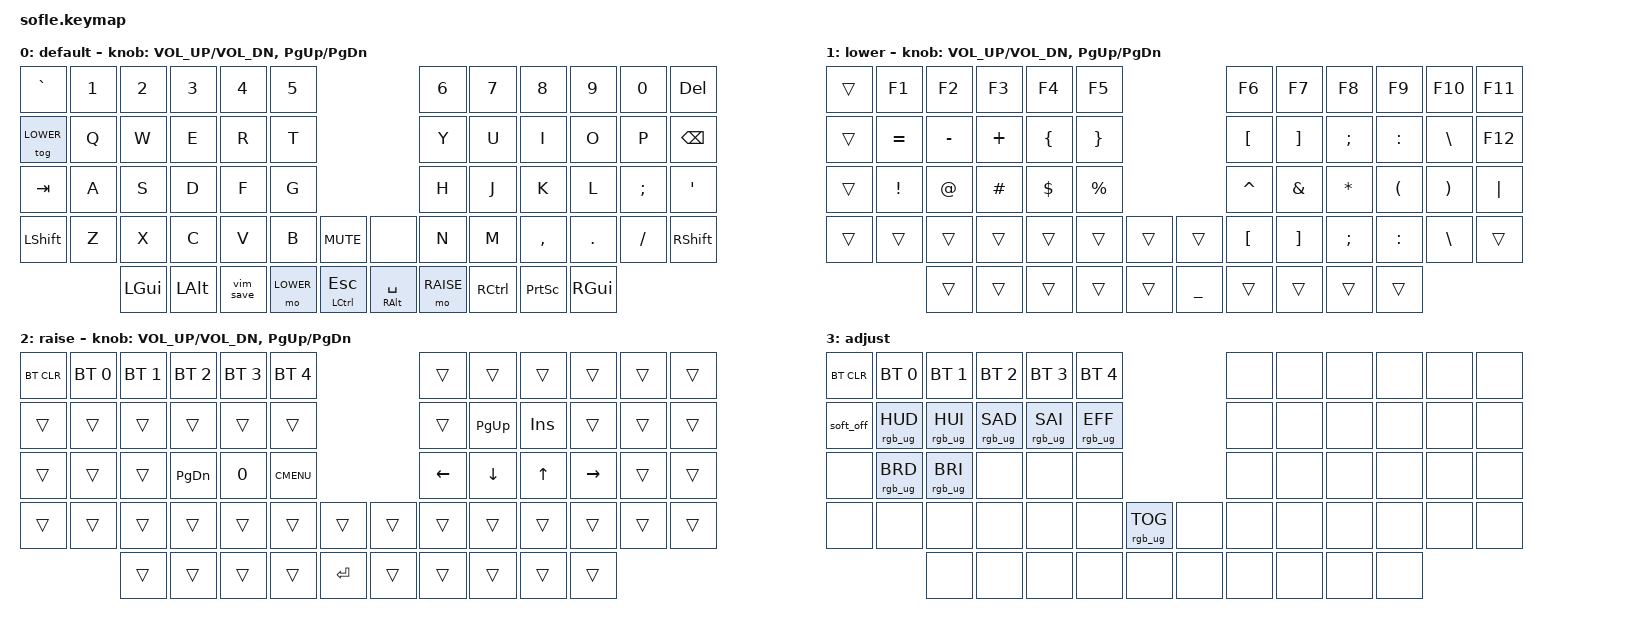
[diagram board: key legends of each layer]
/*
 * Copyright (c) 2020 The ZMK Contributors
 *
 * SPDX-License-Identifier: MIT
 */

#include <behaviors.dtsi>
#include <dt-bindings/zmk/keys.h>
#include <dt-bindings/zmk/bt.h>
#include <dt-bindings/zmk/rgb.h>
#include <dt-bindings/zmk/ext_power.h>

#define BASE 0
#define LOWER 1
#define RAISE 2
#define ADJUST 3

/ {

   // Activate ADJUST layer by pressing raise and lower
    conditional_layers {
        compatible = "zmk,conditional-layers";
        adjust_layer {
            if-layers = <LOWER RAISE>;
            then-layer = <ADJUST>;
        };
    };

   macros {
        vim_save: vim_save {
            compatible = "zmk,behavior-macro";
            #binding-cells = <0>;
            bindings = <&kp ESC &kp COLON &kp W &kp RETURN>;
        };
    };

    behaviors {
        mt: mod_tap {
            compatible = "zmk,behavior-hold-tap";
            #binding-cells = <2>;
            tapping-term-ms = <200>;
            quick-tap-ms = <175>;
            require-prior-idle-ms = <150>;
            flavor = "tap-preferred";
            bindings = <&kp>, <&kp>;
        };
    };

    keymap {
        compatible = "zmk,keymap";

        default_layer {
            display-name = "default";
// ------------------------------------------------------------------------------------------------------------
// |   `     |  1  |  2  |  3   |  4   |  5   |                          |  6   |  7    |  8    |  9   |   0   |  DEL  |
// |  LOWER  |  Q  |  W  |  E   |  R   |  T   |                          |  Y   |  U    |  I    |  O   |   P   | BKSPC |
// |  TAB    |  A  |  S  |  D   |  F   |  G   |                          |  H   |  J    |  K    |  L   |   ;   |   '   |
// |  SHIFT  |  Z  |  X  |  C   |  V   |  B   |  MUTE     |  |           |  N   |  M    |  ,    |  .   |   /   | SHIFT |
//                 | GUI | ALT  | SAVE | LOWER|  CTRL/ESC |  | ALT/SPACE | RAISE| CTRL  | PSCRN | GUI  |
            bindings = <
&kp GRAVE   &kp N1 &kp N2   &kp N3   &kp N4    &kp N5                                      &kp N6     &kp N7    &kp N8    &kp N9   &kp N0   &kp DEL
&tog LOWER  &kp Q  &kp W    &kp E    &kp R     &kp T                                       &kp Y      &kp U     &kp I     &kp O    &kp P    &kp BSPC
&kp TAB     &kp A  &kp S    &kp D    &kp F     &kp G                                       &kp H      &kp J     &kp K     &kp L    &kp SEMI &kp SQT
&kp LSHFT   &kp Z  &kp X    &kp C    &kp V     &kp B      &kp C_MUTE       &none           &kp N      &kp M     &kp COMMA &kp DOT  &kp FSLH &kp RSHFT
                 &kp LGUI &kp LALT &vim_save   &mo LOWER  &mt LCTRL ESC    &mt RALT SPACE  &mo RAISE  &kp RCTRL &kp PSCRN  &kp RGUI
            >;

            sensor-bindings = <&inc_dec_kp C_VOL_UP C_VOL_DN &inc_dec_kp PG_UP PG_DN>;
        };

        lower_layer {
            display-name = "lower";
// TODO: Some binds are waiting for shifted keycode support.
// ------------------------------------------------------------------------------------------------------------
// |       |  F1 |  F2 |  F3  |  F4  |  F5  |                   |  F6  |  F7   |  F8   |  F9  |  F10  |  F11  |
// |       |  =  |  -  |  +   |  {   |  }   |                   |  [   |  ]    |  ;    |  :   |   \   |  F12  |
// |       |  !  |  @  |  #   |  $   |  %   |                   |  ^   |  &    |  *    |  (   |   )   |   |   |
// |       |     |     |      |      |      |        |  |       |      |       |       |      |       |       |
//               |     |      |      |      |        |  |   _   |      |       |       |      |
            bindings = <
&trans    &kp F1    &kp F2    &kp F3      &kp F4    &kp F5                        &kp F6    &kp F7   &kp F8    &kp F9    &kp F10   &kp F11
&trans    &kp EQUAL &kp MINUS &kp PLUS    &kp LBRC  &kp RBRC                      &kp LBKT  &kp RBKT &kp SEMI  &kp COLON  &kp BSLH &kp F12
&trans    &kp EXCL  &kp AT    &kp HASH    &kp DLLR  &kp PRCNT                     &kp CARET &kp AMPS &kp ASTRK &kp LPAR  &kp RPAR  &kp PIPE
&trans    &trans    &trans    &trans      &trans    &trans    &trans    &trans    &kp LBKT  &kp RBKT &kp SEMI  &kp COLON &kp BSLH  &trans
                    &trans    &trans      &trans    &trans    &trans    &kp UNDER &trans    &trans   &trans    &trans
            >;

            sensor-bindings = <&inc_dec_kp C_VOL_UP C_VOL_DN &inc_dec_kp PG_UP PG_DN>;
        };

        raise_layer {
            display-name = "raise";
// ------------------------------------------------------------------------------------------------------------
// | BTCLR | BT1  | BT2  |  BT3  |  BT4  |  BT5 |                |      |       |       |      |       |       |
// |       |      |      |       |       |      |                |      | PG_UP |  INS  |      |       |       |
// |       |      |      | PG_DN |   0   | GUI  |                | <-   |   v   |   ^   |  ->  |       |       |
// |       |      |      |       |       |      |      |  |      |      |       |       |      |       |       |
//                |      |       |       |      | RET  |  |      |      |       |       |      |
            bindings = <
&bt BT_CLR &bt BT_SEL 0 &bt BT_SEL 1 &bt BT_SEL 2 &bt BT_SEL 3 &bt BT_SEL 4                  &trans     &trans    &trans   &trans    &trans      &trans
&trans     &trans       &trans       &trans       &trans       &trans                        &trans     &kp PG_UP &kp INS   &trans    &trans      &trans
&trans     &trans       &trans       &kp PG_DN    &kp N0       &kp K_CMENU                   &kp LEFT   &kp DOWN  &kp UP   &kp RIGHT &trans      &trans
&trans     &trans       &trans       &trans       &trans       &trans    &trans      &trans  &trans     &trans    &trans   &trans    &trans      &trans
                        &trans       &trans       &trans       &trans    &kp RET     &trans  &trans     &trans    &trans   &trans
            >;

            sensor-bindings = <&inc_dec_kp C_VOL_UP C_VOL_DN &inc_dec_kp PG_UP PG_DN>;
        };

        adjust_layer {
// ----------------------------------------------------------------------------------------------------------------------------
// | BTCLR  |  BT1    |  BT2    |   BT3   |   BT4   |   BT5   |                  |      |      |       |      |       |       |
// | EXTPWR | RGB_HUD | RGB_HUI | RGB_SAD | RGB_SAI | RGB_EFF |                  |      |      |       |      |       |       |
// |        | RGB_BRD | RGB_BRI |         |         |         |                  |      |      |       |      |       |       |
// |        |         |         |         |         |         | RGB_TOG | |      |      |      |       |      |       |       |
//                    |         |         |         |         |         | |      |      |      |       |      |
            display-name = "adjust";
            bindings = <
&bt BT_CLR        &bt BT_SEL 0    &bt BT_SEL 1    &bt BT_SEL 2    &bt BT_SEL 3    &bt BT_SEL 4                            &none &none &none &none &none &none
&soft_off         &rgb_ug RGB_HUD &rgb_ug RGB_HUI &rgb_ug RGB_SAD &rgb_ug RGB_SAI &rgb_ug RGB_EFF                         &none &none &none &none &none &none
&none             &rgb_ug RGB_BRD &rgb_ug RGB_BRI &none           &none           &none                                   &none &none &none &none &none &none
&none             &none           &none           &none           &none           &none            &rgb_ug RGB_TOG &none  &none &none &none &none &none &none
                                  &none           &none           &none           &none            &none           &none  &none &none &none &none
            >;
        };

    };
};
